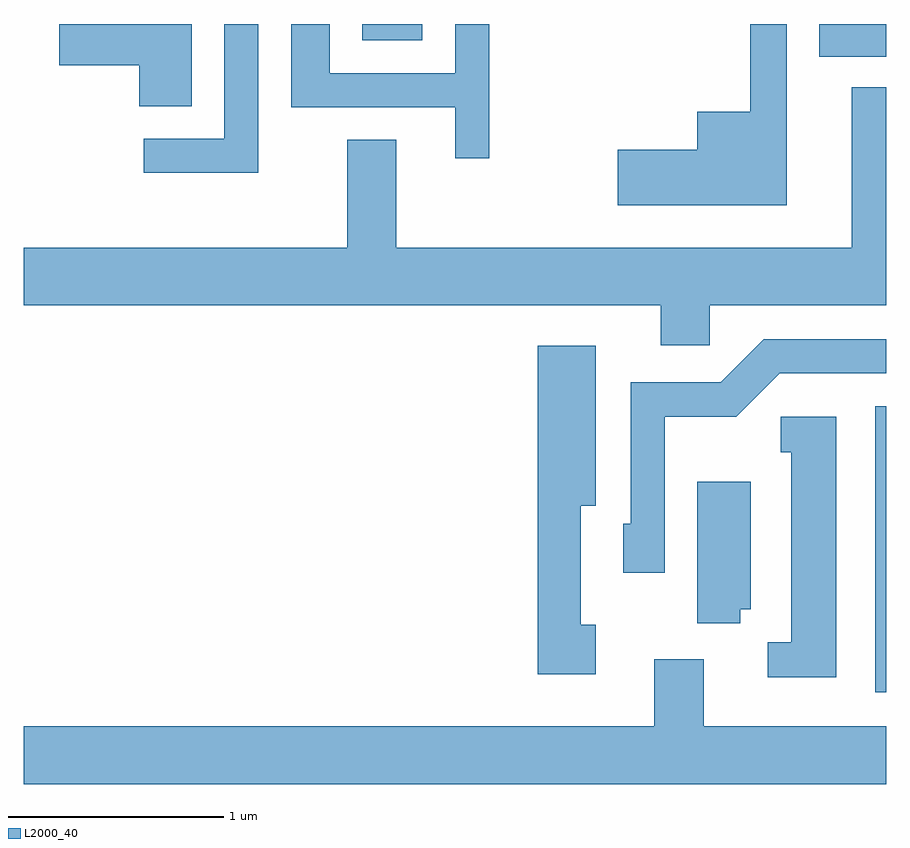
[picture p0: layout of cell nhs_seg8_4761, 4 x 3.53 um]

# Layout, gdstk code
import gdstk
lib = gdstk.Library(unit=1e-6, precision=1e-09)
def R(c, l, rs):  # rectangles x0, y0, x1, y1
    for r in rs: c.add(gdstk.rectangle(r[:2], r[2:], *l))
def P(c, l, *ps):  # polygons
    for p in ps: c.add(gdstk.Polygon(p, *l))
L2000_40 = (2000, 40)

nhs_seg8_4761 = lib.new_cell('nhs_seg8_4761')
R(nhs_seg8_4761, L2000_40, [(331.561,1881.241,331.611,1882.569), (331.301,1884.191,331.611,1884.342), (329.181,1884.266,329.459,1884.342)])
P(nhs_seg8_4761, L2000_40, [(328.699,1884.342),(328.541,1884.342),(328.541,1883.809),(328.168,1883.809),(328.168,1883.651),(328.699,1883.651)],
  [(331.149,1884.342),(330.981,1884.342),(330.981,1883.934),(330.736,1883.934),(330.736,1883.759),(330.366,1883.759),(330.366,1883.501),(331.149,1883.501)],
  [(329.769,1884.342),(329.611,1884.342),(329.611,1884.114),(329.029,1884.114),(329.029,1884.342),(328.851,1884.342),(328.851,1883.956),(329.611,1883.956),(329.611,1883.718),(329.769,1883.718)],
  [(328.389,1884.342),(327.776,1884.342),(327.776,1884.151),(328.146,1884.151),(328.146,1883.961),(328.389,1883.961)],
  [(330.794,1883.036),(331.611,1883.036),(331.611,1884.048),(331.451,1884.048),(331.451,1883.304),(329.339,1883.304),(329.339,1883.804),(329.111,1883.804),(329.111,1883.304),(327.611,1883.304),(327.611,1883.036),(330.566,1883.036),(330.566,1882.851),(330.794,1882.851)],
  [(330.584,1882.521),(330.917,1882.521),(331.117,1882.721),(331.611,1882.721),(331.611,1882.879),(331.044,1882.879),(330.844,1882.679),(330.426,1882.679),(330.426,1882.024),(330.391,1882.024),(330.391,1881.796),(330.584,1881.796)],
  [(330.264,1881.554),(330.194,1881.554),(330.194,1882.106),(330.264,1882.106),(330.264,1882.849),(329.996,1882.849),(329.996,1881.326),(330.264,1881.326)],
  [(331.379,1882.519),(331.123,1882.519),(331.123,1882.356),(331.171,1882.356),(331.171,1881.474),(331.063,1881.474),(331.063,1881.311),(331.379,1881.311)],
  [(330.934,1881.626),(330.984,1881.626),(330.984,1882.219),(330.736,1882.219),(330.736,1881.561),(330.934,1881.561)],
  [(331.611,1881.084),(330.764,1881.084),(330.764,1881.394),(330.536,1881.394),(330.536,1881.084),(327.611,1881.084),(327.611,1880.816),(331.611,1880.816)])

lib.write_gds('nhs_seg8_4761.gds')
